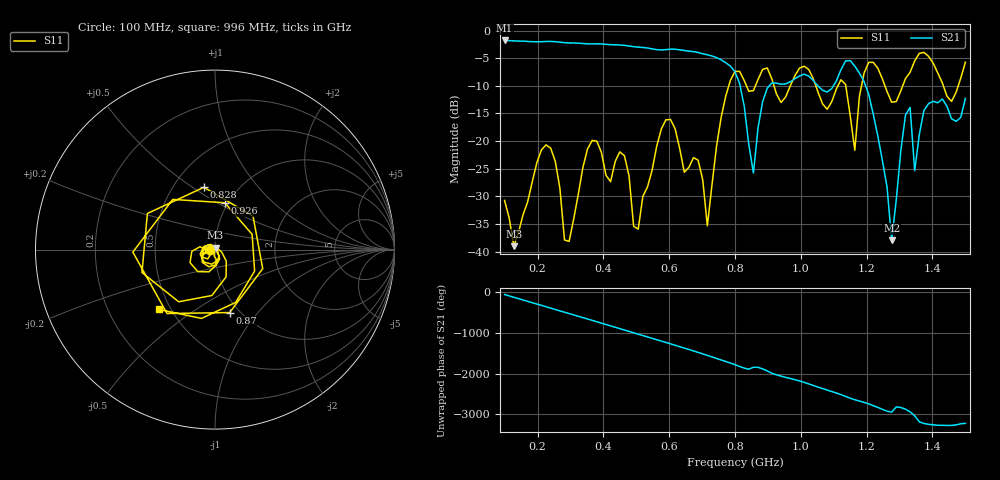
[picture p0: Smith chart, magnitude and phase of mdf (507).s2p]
! NanoVNA-App
! Date: 2025-09-25 15:42:22
! Start: 100MHz Stop: 1,5GHz Points: 101
! S-Parameter data: F S11 S21 S12 S22
# Hz S RI R 50
!  Frequency  S11_Real  S11_Imag  S21_Real  S21_Imag  S12_Real  S12_Imag  S22_Real  S22_Imag
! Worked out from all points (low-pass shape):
!   101 points, 100 MHz to 1.5 GHz, reference 50 ohm
!   highest |S21| = -1.80 dB at 100 MHz (marker M1); lowest = -37.9 dB at 1.276 GHz (marker M2)
!   |S21| within 3 dB of the highest: start of sweep to 739.4 MHz
!   lowest |S11| = -39.0 dB at 128 MHz (marker M3), VSWR 1.02, Z = 50.3 + j1.08 ohm
!   |S11| at or under -10 dB: start of sweep to 781.1 MHz; 918.4 MHz to 968 MHz (49.62 MHz wide, 5.26 % of centre); 1.045 GHz to 1.113 GHz (67.28 MHz wide, 6.23 % of centre) (the widest 3 of 7)
!   S12 and S22 are empty: the file has one direction only
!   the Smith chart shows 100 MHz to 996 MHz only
!   S11 on the Smith chart (normalised r, x): 100 MHz: 0.94, -0.01; 828 MHz: 0.70, +0.56; 870 MHz: 0.90, -0.73; 926 MHz: 0.97, +0.54; 996 MHz: 0.43, -0.36
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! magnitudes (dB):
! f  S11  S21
! 100 MHz  -30.7  -1.8
! 128 MHz  -39.0  -1.9
! 212 MHz  -21.6  -2.0
! 282 MHz  -37.9  -2.2
! 338 MHz  -24.7  -2.4
! 464 MHz  -22.6  -2.7
! 506 MHz  -35.9  -3.0
! 576 MHz  -17.8  -3.5
! 716 MHz  -35.3  -4.4
! 800 MHz  -7.4  -7.5
! 828 MHz  -9.1  -13.7
! 856 MHz  -10.9  -25.8
! 870 MHz  -8.9  -17.6
! 926 MHz  -11.5  -9.5
! 996 MHz  -6.8  -8.2
! 1.038 GHz  -8.7  -9.0
! 1.164 GHz  -21.6  -6.4
! 1.192 GHz  -7.7  -9.2
! 1.276 GHz  -13.0  -37.9
! 1.318 GHz  -8.7  -15.3
! 1.346 GHz  -5.5  -25.3
! 1.5 GHz  -5.7  -12.3
